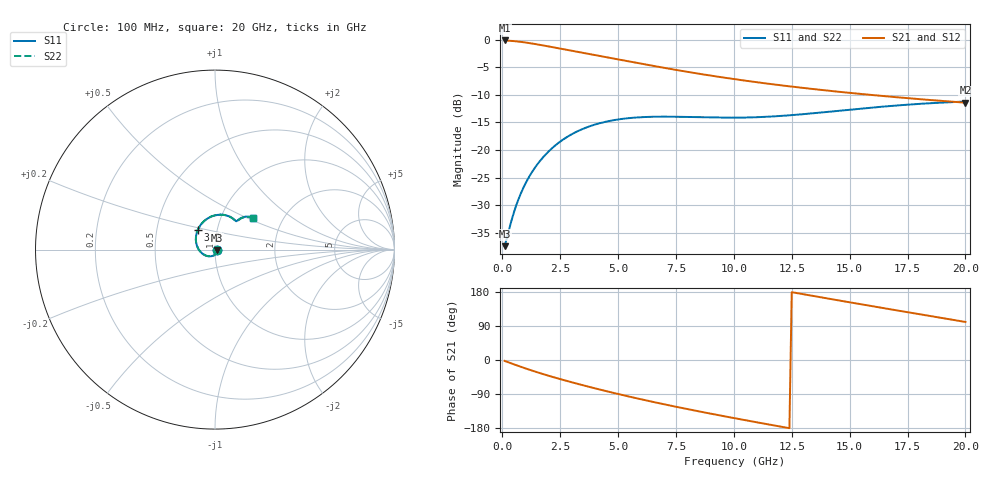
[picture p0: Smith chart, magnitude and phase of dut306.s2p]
! Touchstone file exported from HFSS 2024.1.0
!  File:  C:/UserFiles/LocalFiles/RDL_TSV_Batchsim/temp_RDL_TSV_306_1779626283.aedt
!  Generated:  08:50:43 PM May 24, 2026
!  Design:  RDL_TSV
!  Project:  temp_RDL_TSV_306_1779626283
!  Setup:  Setup1
!  Solution:  Sweep
! Variables:
!  dtsv = 11.87um
!  hbump = 3um
!  htsv = 92.89um
!  ldown = 321.63um
!  lrdl = 695.42um
!  p = 40
!  p1 = 48.03um
!  rhole = 10um
!  subl = 3746.57um
!  t = 450um
!  tdown = 3.82um
!  trdl = 4.14um
!  viad = 10um
!  wdown = 25.26um
!  wrdl = 29.02um
!  xbump = 18um
# GHz S MA R 50.000000
! Terminal data exported
! Port[1] = TM1_1_T1
! Port[2] = TM1_4_T1
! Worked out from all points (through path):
!   200 points, 100 MHz to 20 GHz, reference 50 ohm
!   highest |S21| = -0.12 dB at 100 MHz (marker M1); lowest = -11.4 dB at 20 GHz (marker M2)
!   group delay of S21, straight-line fit = 34.1 ps
!   lowest |S11| = -37.4 dB at 100 MHz (marker M3), VSWR 1.03, Z = 51.3 - j0.493 ohm
!   |S11| at or under -10 dB: start of sweep to end of sweep
!   |S22| runs from -37.4 to -11.3 dB; largest |S21 - S12| = 3.3e-14
!   S11 on the Smith chart (normalised r, x): 100 MHz: 1.03, -0.01; 3.2 GHz: 0.81, +0.18; 20 GHz: 1.41, +0.54
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0.1  0.01342 -21.0  0.9865 -2.4  0.9865 -2.4  0.01342 -21.0
! Gamma 0 0 0 0
! Port Impedance 50 0 50 0
0.4  0.02304 -74.3  0.9774 -9.2  0.9774 -9.2  0.02303 -74.3
0.7  0.03581 -107.1  0.9637 -15.8  0.9637 -15.8  0.0358 -107.1
1  0.04963 -131.0  0.9457 -22.1  0.9457 -22.1  0.04963 -131.1
1.3  0.0639 -150.7  0.9246 -28.3  0.9246 -28.3  0.06393 -150.8
1.7  0.08303 -172.6  0.8942 -36.0  0.8942 -36.0  0.0831 -172.7
2.1  0.1017 169.1  0.8631 -43.4  0.8631 -43.4  0.1018 168.9
2.6  0.1234 149.8  0.8251 -52.1  0.8251 -52.1  0.1236 149.6
3.2  0.1463 130.8  0.7816 -62.1  0.7816 -62.1  0.1466 130.7
3.5  0.1561 122.6  0.7608 -66.9  0.7608 -66.9  0.1565 122.5
4.3  0.1771 104.3  0.7078 -79.3  0.7078 -79.3  0.1777 104.2
5.2  0.1919 88.4  0.6524 -92.6  0.6524 -92.6  0.1926 88.2
6  0.1986 77.5  0.6072 -103.8  0.6072 -103.8  0.1993 77.3
6.8  0.2007 69.1  0.566 -114.4  0.566 -114.4  0.2015 68.9
8.4  0.1985 58.5  0.4959 -134.5  0.4959 -134.5  0.1992 58.2
10.1  0.1966 53.8  0.4374 -154.4  0.4374 -154.4  0.1971 53.4
11.7  0.2018 52.5  0.3944 -172.3  0.3944 -172.3  0.202 52.0
13.4  0.2153 51.7  0.358 169.3  0.358 169.3  0.2151 51.2
15.1  0.2333 49.9  0.3285 151.2  0.3285 151.2  0.2326 49.4
16.7  0.2503 47.2  0.3056 134.4  0.3056 134.4  0.2493 46.8
18.3  0.2645 43.9  0.2863 117.9  0.2863 117.9  0.2633 43.6
20  0.2752 40.3  0.269 100.5  0.269 100.5  0.2738 40.0
